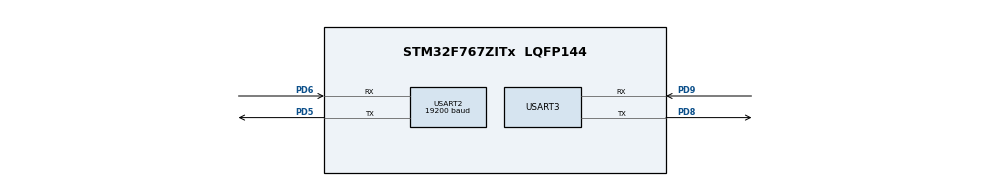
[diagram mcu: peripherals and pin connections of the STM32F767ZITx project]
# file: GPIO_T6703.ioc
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Mcu.Family=STM32F7
Mcu.Name=STM32F767ZITx
Mcu.Package=LQFP144
NVIC.PriorityGroup=NVIC_PRIORITYGROUP_4
NVIC.USART2_IRQn=true\:0\:0\:false\:false\:true\:true\:true\:true
NVIC.USART3_IRQn=true\:0\:0\:false\:false\:true\:true\:true\:true
PA13.Mode=Serial_Wire
PA13.Signal=SYS_JTMS-SWDIO
PA14.Mode=Serial_Wire
PA14.Signal=SYS_JTCK-SWCLK
PD5.Mode=Asynchronous
PD5.Signal=USART2_TX
PD6.Mode=Asynchronous
PD6.Signal=USART2_RX
PD8.Mode=Asynchronous
PD8.Signal=USART3_TX
PD9.Mode=Asynchronous
PD9.Signal=USART3_RX
ProjectManager.HeapSize=0x200
ProjectManager.StackSize=0x400
ProjectManager.TargetToolchain=STM32CubeIDE
RCC.HSE_VALUE=25000000
RCC.HSI_VALUE=16000000
RCC.USBFreq_Value=96000000
RCC.VCOOutputFreq_Value=192000000
TIM6.Period=65535-1
TIM6.Prescaler=16-1
USART2.BaudRate=19200
USART2.Parity=PARITY_EVEN
USART2.VirtualMode-Asynchronous=VM_ASYNC
USART2.WordLength=WORDLENGTH_9B
USART3.VirtualMode-Asynchronous=VM_ASYNC
VP_TIM6_VS_ClockSourceINT.Mode=Enable_Timer
board=custom

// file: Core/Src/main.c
/* USER CODE BEGIN Header */
/**
  ******************************************************************************
  * @file           : main.c
  * @brief          : Main program body
  ******************************************************************************
  * @attention
  *
  * Copyright (c) 2024 STMicroelectronics.
  * All rights reserved.
  *
  * This software is licensed under terms that can be found in the LICENSE file
  * in the root directory of this software component.
  * If no LICENSE file comes with this software, it is provided AS-IS.
  *
  ******************************************************************************
  */
/* USER CODE END Header */
#include "main.h"

/* USER CODE BEGIN Includes */
#include <stdio.h>
#include <string.h>
/* USER CODE END Includes */

TIM_HandleTypeDef htim6;

UART_HandleTypeDef huart2;
UART_HandleTypeDef huart3;

void SystemClock_Config(void);
static void MPU_Config(void);
static void MX_GPIO_Init(void);
static void MX_USART2_UART_Init(void);
static void MX_USART3_UART_Init(void);
static void MX_TIM6_Init(void);

/* USER CODE BEGIN 0 */
/************************* Start delay function *************************/
void delay(uint16_t length) {
	/* TIM6 timer settings in STM32CubeMX are
	 * - HCLK: 16 MHz.
	 * - APB1: 16 MHz.
	 * - TIM6 Pre-scalar: 16-1 thus APB1 is scaled to 1 MHz
	 * - TIM6 Counter period: 65535-1. Thus, the maximum counter period is 65.535 ms.
	 *
	 * The maximum signal length of the DHT11 protocol in all phases (initialization, response,
	 * and data transmission) is 18 ms. Thus, a timer length of 65.535 ms is more than enough.
	 * The counter is increasing.
	 */
	__HAL_TIM_SET_COUNTER(&htim6, 0);				// Set the time to 0
	while((__HAL_TIM_GET_COUNTER(&htim6))<length);  // Increment the timer until the desired length.
}
/************************* End delay function *************************/

/************************* Start T6713 functions *************************/

static const uint8_t cmd[8] = {
		  0x15,	// slave address
		  0x04,	// read input register function
		  0x13,	// register address 5003 (MSB)
		  0x8B,	// register address 5003 (LSB)
		  0x00, // number of registers (MSB)
		  0x01,	// number of registers (LSB)
		  0x46,	// CRC (LSB)
		  0x70	// CRC (MSB)
};

static uint16_t cmd_length =
  		  (uint16_t)(sizeof(cmd)/sizeof(uint8_t));

/************************* End T6713 functions *************************/
uint8_t rcv_buff[8];
uint8_t snd_buff[12]; // 31
uint16_t co2 = -1;
/* USER CODE END 0 */

int main(void)
{

  /* MPU Configuration--------------------------------------------------------*/
  MPU_Config();

  /* MCU Configuration--------------------------------------------------------*/

  /* Reset of all peripherals, Initializes the Flash interface and the Systick. */
  HAL_Init();

  /* Configure the system clock */
  SystemClock_Config();

  /* Initialize all configured peripherals */
  MX_GPIO_Init();
  MX_USART2_UART_Init();
  MX_USART3_UART_Init();
  MX_TIM6_Init();
  /* USER CODE BEGIN 2 */
  HAL_UART_Receive_IT(&huart2, rcv_buff, 8);
  HAL_TIM_Base_Start_IT(&htim6);
  /* USER CODE END 2 */

  /* Infinite loop */
  /* USER CODE BEGIN WHILE */
  while (1)
  {
	  /* Request data from T6713 */
	  HAL_UART_Transmit(&huart2, cmd, cmd_length, 1000);

	  /* Delay so that HAL_UART_RxCpltCallback is called */
	  HAL_Delay(500);

	  /* Prepare a message packet */
	  sprintf(snd_buff,"CO2:%04d\r\n", co2);

	  /* Transmit the message via UART3 */
	  HAL_UART_Transmit(&huart3, snd_buff, strlen(snd_buff), 100);

	  HAL_Delay(5000);	// The module updates the signal every 5s

    /* USER CODE END WHILE */

  }
}

void SystemClock_Config(void)
{
  RCC_OscInitTypeDef RCC_OscInitStruct = {0};
  RCC_ClkInitTypeDef RCC_ClkInitStruct = {0};

  /** Configure the main internal regulator output voltage
  */
  __HAL_RCC_PWR_CLK_ENABLE();
  __HAL_PWR_VOLTAGESCALING_CONFIG(PWR_REGULATOR_VOLTAGE_SCALE3);

  /** Initializes the RCC Oscillators according to the specified parameters
  * in the RCC_OscInitTypeDef structure.
  */
  RCC_OscInitStruct.OscillatorType = RCC_OSCILLATORTYPE_HSI;
  RCC_OscInitStruct.HSIState = RCC_HSI_ON;
  RCC_OscInitStruct.HSICalibrationValue = RCC_HSICALIBRATION_DEFAULT;
  RCC_OscInitStruct.PLL.PLLState = RCC_PLL_NONE;
  if (HAL_RCC_OscConfig(&RCC_OscInitStruct) != HAL_OK)
  {
    Error_Handler();
  }

  /** Initializes the CPU, AHB and APB buses clocks
  */
  RCC_ClkInitStruct.ClockType = RCC_CLOCKTYPE_HCLK|RCC_CLOCKTYPE_SYSCLK
                              |RCC_CLOCKTYPE_PCLK1|RCC_CLOCKTYPE_PCLK2;
  RCC_ClkInitStruct.SYSCLKSource = RCC_SYSCLKSOURCE_HSI;
  RCC_ClkInitStruct.AHBCLKDivider = RCC_SYSCLK_DIV1;
  RCC_ClkInitStruct.APB1CLKDivider = RCC_HCLK_DIV1;
  RCC_ClkInitStruct.APB2CLKDivider = RCC_HCLK_DIV1;

  if (HAL_RCC_ClockConfig(&RCC_ClkInitStruct, FLASH_LATENCY_0) != HAL_OK)
  {
    Error_Handler();
  }
}

static void MX_TIM6_Init(void)
{

  TIM_MasterConfigTypeDef sMasterConfig = {0};

  htim6.Instance = TIM6;
  htim6.Init.Prescaler = 16-1;
  htim6.Init.CounterMode = TIM_COUNTERMODE_UP;
  htim6.Init.Period = 65535-1;
  htim6.Init.AutoReloadPreload = TIM_AUTORELOAD_PRELOAD_DISABLE;
  if (HAL_TIM_Base_Init(&htim6) != HAL_OK)
  {
    Error_Handler();
  }
  sMasterConfig.MasterOutputTrigger = TIM_TRGO_RESET;
  sMasterConfig.MasterSlaveMode = TIM_MASTERSLAVEMODE_DISABLE;
  if (HAL_TIMEx_MasterConfigSynchronization(&htim6, &sMasterConfig) != HAL_OK)
  {
    Error_Handler();
  }

}

static void MX_USART2_UART_Init(void)
{

  huart2.Instance = USART2;
  huart2.Init.BaudRate = 19200;
  huart2.Init.WordLength = UART_WORDLENGTH_9B;
  huart2.Init.StopBits = UART_STOPBITS_1;
  huart2.Init.Parity = UART_PARITY_EVEN;
  huart2.Init.Mode = UART_MODE_TX_RX;
  huart2.Init.HwFlowCtl = UART_HWCONTROL_NONE;
  huart2.Init.OverSampling = UART_OVERSAMPLING_16;
  huart2.Init.OneBitSampling = UART_ONE_BIT_SAMPLE_DISABLE;
  huart2.AdvancedInit.AdvFeatureInit = UART_ADVFEATURE_NO_INIT;
  if (HAL_UART_Init(&huart2) != HAL_OK)
  {
    Error_Handler();
  }

}

static void MX_USART3_UART_Init(void)
{

  huart3.Instance = USART3;
  huart3.Init.BaudRate = 115200;
  huart3.Init.WordLength = UART_WORDLENGTH_8B;
  huart3.Init.StopBits = UART_STOPBITS_1;
  huart3.Init.Parity = UART_PARITY_NONE;
  huart3.Init.Mode = UART_MODE_TX_RX;
  huart3.Init.HwFlowCtl = UART_HWCONTROL_NONE;
  huart3.Init.OverSampling = UART_OVERSAMPLING_16;
  huart3.Init.OneBitSampling = UART_ONE_BIT_SAMPLE_DISABLE;
  huart3.AdvancedInit.AdvFeatureInit = UART_ADVFEATURE_NO_INIT;
  if (HAL_UART_Init(&huart3) != HAL_OK)
  {
    Error_Handler();
  }

}

static void MX_GPIO_Init(void)
{

  /* GPIO Ports Clock Enable */
  __HAL_RCC_GPIOD_CLK_ENABLE();
  __HAL_RCC_GPIOA_CLK_ENABLE();

}

/* USER CODE BEGIN 4 */
void HAL_UART_RxCpltCallback(UART_HandleTypeDef *huart)
{
	if (huart->Instance == USART2) {

		/* Receive data from T6713 */
		HAL_UART_Receive_IT(&huart2, rcv_buff, 8);

		/* Validate data packet is not corrupt */
		if( rcv_buff[0] == 0x15 && rcv_buff[1] == 0x04 && rcv_buff[2] == 0x02){
			uint16_t new_co2 = (uint16_t)(rcv_buff[3] << 8 | rcv_buff[4]);
			co2 = new_co2;
		}
	}
}
/* USER CODE END 4 */

/* MPU Configuration */

void MPU_Config(void)
{
  MPU_Region_InitTypeDef MPU_InitStruct = {0};

  /* Disables the MPU */
  HAL_MPU_Disable();

  /** Initializes and configures the Region and the memory to be protected
  */
  MPU_InitStruct.Enable = MPU_REGION_ENABLE;
  MPU_InitStruct.Number = MPU_REGION_NUMBER0;
  MPU_InitStruct.BaseAddress = 0x0;
  MPU_InitStruct.Size = MPU_REGION_SIZE_4GB;
  MPU_InitStruct.SubRegionDisable = 0x87;
  MPU_InitStruct.TypeExtField = MPU_TEX_LEVEL0;
  MPU_InitStruct.AccessPermission = MPU_REGION_NO_ACCESS;
  MPU_InitStruct.DisableExec = MPU_INSTRUCTION_ACCESS_DISABLE;
  MPU_InitStruct.IsShareable = MPU_ACCESS_SHAREABLE;
  MPU_InitStruct.IsCacheable = MPU_ACCESS_NOT_CACHEABLE;
  MPU_InitStruct.IsBufferable = MPU_ACCESS_NOT_BUFFERABLE;

  HAL_MPU_ConfigRegion(&MPU_InitStruct);
  /* Enables the MPU */
  HAL_MPU_Enable(MPU_PRIVILEGED_DEFAULT);

}

void Error_Handler(void)
{
  __disable_irq();
  while (1)
  {
  }
}
